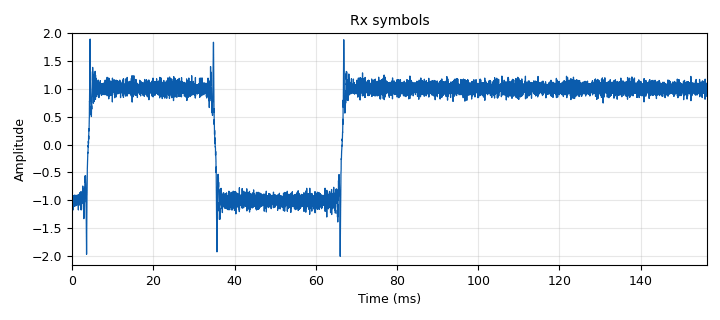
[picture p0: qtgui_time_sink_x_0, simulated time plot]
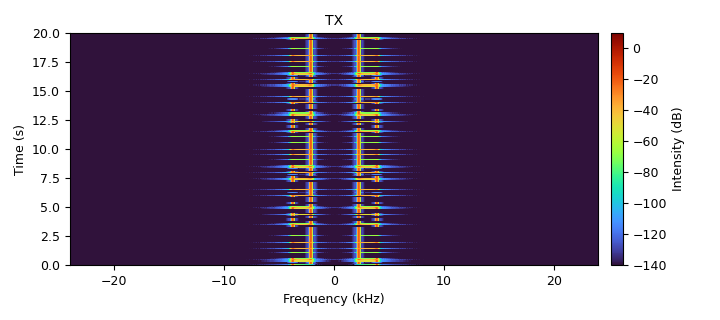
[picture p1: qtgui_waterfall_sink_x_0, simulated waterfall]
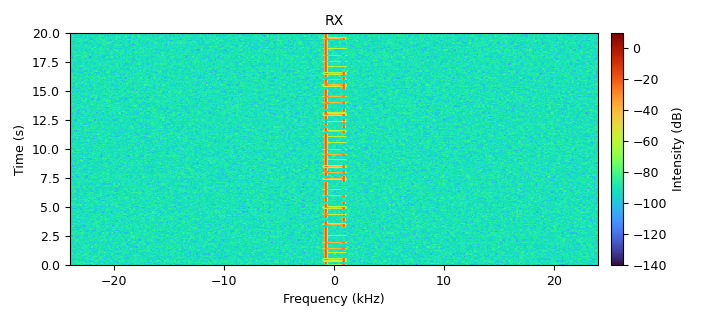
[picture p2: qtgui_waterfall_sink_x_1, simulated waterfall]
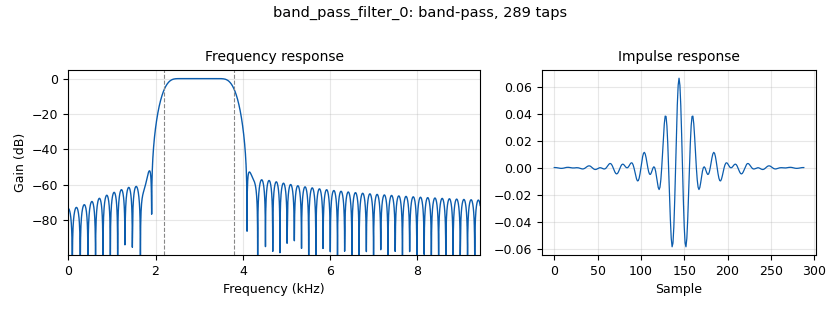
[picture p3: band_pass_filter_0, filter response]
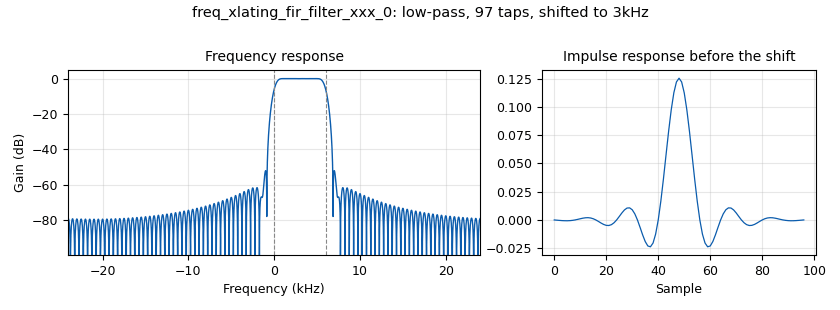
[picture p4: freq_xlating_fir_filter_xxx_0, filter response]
options:
  parameters:
    author: ubuntu
    generate_options: qt_gui
    id: test_header_payload_demux
    output_language: python
    title: Header/Payload demux demo
  states: {}

blocks:
- name: access_code
  id: variable
  parameters:
    value: '"11100001010110101110100010010011"'
  states: {}
- name: access_code_cplx
  id: variable
  parameters:
    value: '[(complex(x)-0.5)*2 for x in list(access_code)]'
  states: {}
- name: format_used
  id: variable
  parameters:
    value: digital.header_format_counter(access_code,0,1)
  states: {}
- name: lowpassfiltertaps
  id: variable_low_pass_filter_taps
  parameters:
    cutoff_freq: fc
    gain: '1.0'
    samp_rate: samp_rate
    width: deviation*1.5
    win: window.WIN_HAMMING
  states: {}
- name: noise_voltage
  id: variable_qtgui_range
  parameters:
    label: Noise Voltage
    start: '0'
    step: '0.001'
    stop: '0.5'
    value: '0.002'
  states: {}
- name: samp_rate
  id: variable
  parameters:
    value: '48000'
  states: {}
- name: sensitivity
  id: variable
  parameters:
    value: 2*math.pi*deviation
  states: {}
- name: analog_agc_xx_0
  id: analog_agc_xx
  parameters:
    gain: '1.0'
    max_gain: '65536'
    rate: '1e-4'
    reference: '1.0'
    type: float
  states: {}
- name: analog_quadrature_demod_cf_0
  id: analog_quadrature_demod_cf
  parameters:
    gain: samp_rate/(2*math.pi*deviation)
  states: {}
- name: band_pass_filter_0
  id: band_pass_filter
  parameters:
    gain: '1'
    high_cutoff_freq: fc+deviation
    interp: '1'
    low_cutoff_freq: fc-deviation
    samp_rate: samp_rate
    type: interp_fir_filter_fff
    width: deviation/2
    win: window.WIN_HAMMING
  states: {}
- name: blocks_add_const_vxx_0
  id: blocks_add_const_vxx
  parameters:
    const: '-0.5'
    type: float
  states: {}
- name: blocks_add_const_vxx_1
  id: blocks_add_const_vxx
  parameters:
    const: '-1'
    type: float
  states: {}
- name: blocks_add_const_vxx_2
  id: blocks_add_const_vxx
  parameters:
    const: 2*math.pi*fc/sensitivity
    type: float
  states: {}
- name: blocks_char_to_float_0
  id: blocks_char_to_float
  parameters:
    scale: '1'
  states: {}
- name: blocks_char_to_float_1
  id: blocks_char_to_float
  parameters:
    scale: '1'
  states: {}
- name: blocks_complex_to_float_0
  id: blocks_complex_to_float
  parameters: {}
  states: {}
- name: blocks_complex_to_float_1
  id: blocks_complex_to_float
  parameters: {}
  states: {}
- name: blocks_float_to_complex_0
  id: blocks_float_to_complex
  parameters: {}
  states: {}
- name: blocks_message_debug_0
  id: blocks_message_debug
  parameters: {}
  states: {state: disabled}
- name: blocks_message_debug_1
  id: blocks_message_debug
  parameters: {}
  states: {}
- name: blocks_message_strobe_0
  id: blocks_message_strobe
  parameters:
    msg: pmt.cons(pmt.PMT_NIL, pmt.init_u8vector(pkt_size, [0x48,0x65,0x6c,0x6c,0x6f,0x2c,0x20,0x57,0x6f,0x72,0x6c,0x64,0x21,0x0a]))
    period: '1000'
  states: {}
- name: blocks_multiply_const_vxx_0
  id: blocks_multiply_const_vxx
  parameters:
    const: '2'
    type: float
  states: {}
- name: blocks_multiply_const_vxx_1
  id: blocks_multiply_const_vxx
  parameters:
    const: '2'
    type: float
  states: {}
- name: blocks_null_sink_0
  id: blocks_null_sink
  parameters:
    type: float
  states: {}
- name: blocks_null_sink_1
  id: blocks_null_sink
  parameters:
    type: float
  states: {}
- name: blocks_repack_bits_bb_0
  id: blocks_repack_bits_bb
  parameters:
    endianness: gr.GR_MSB_FIRST
    k: '1'
    l: '8'
    len_tag_key: '"payload symbols"'
  states: {}
- name: blocks_repeat_0
  id: blocks_repeat
  parameters:
    interp: sps
    type: byte
  states: {}
- name: blocks_tag_gate_0
  id: blocks_tag_gate
  parameters:
    propagate_tags: 'False'
    type: byte
  states: {}
- name: blocks_tag_gate_1
  id: blocks_tag_gate
  parameters:
    propagate_tags: 'False'
    type: float
  states: {}
- name: blocks_tagged_stream_mux_0
  id: blocks_tagged_stream_mux
  parameters:
    lengthtagname: packet_len
    ninputs: '2'
    type: byte
  states: {}
- name: blocks_unpack_k_bits_bb_0
  id: blocks_unpack_k_bits_bb
  parameters:
    k: '8'
  states: {}
- name: blocks_vco_f_0
  id: blocks_vco_f
  parameters:
    amplitude: '1'
    samp_rate: samp_rate
    sensitivity: sensitivity
  states: {}
- name: blocks_vector_source_x_1
  id: blocks_vector_source_x
  parameters:
    repeat: 'True'
    type: float
    vector: '[0,]'
  states: {}
- name: channels_channel_model_0
  id: channels_channel_model
  parameters:
    epsilon: '1.0'
    freq_offset: '0.0'
    noise_voltage: noise_voltage
    seed: '0'
    taps: '1.0'
  states: {}
- name: deviation
  id: parameter
  parameters:
    label: BFSK Deviation
    type: eng_float
    value: '800'
  states: {}
- name: digital_binary_slicer_fb_0
  id: digital_binary_slicer_fb
  parameters: {}
  states: {}
- name: digital_binary_slicer_fb_1
  id: digital_binary_slicer_fb
  parameters: {}
  states: {}
- name: digital_binary_slicer_fb_2
  id: digital_binary_slicer_fb
  parameters: {}
  states: {}
- name: digital_corr_est_cc_0
  id: digital_corr_est_cc
  parameters:
    mark_delay: '1'
    sps: '1'
    symbols: access_code_cplx
    threshold: '0.9'
    threshold_method: digital.THRESHOLD_ABSOLUTE
  states: {}
- name: digital_crc32_bb_0
  id: digital_crc32_bb
  parameters:
    check: 'False'
    lengthtagname: '"packet_len"'
    packed: 'True'
  states: {}
- name: digital_crc32_bb_1
  id: digital_crc32_bb
  parameters:
    check: 'True'
    lengthtagname: '"payload symbols"'
    packed: 'True'
  states: {}
- name: digital_header_payload_demux_0
  id: digital_header_payload_demux
  parameters:
    header_len: 12*8
    header_padding: '0'
    items_per_symbol: '1'
    length_tag_key: '"payload symbols"'
    output_symbols: 'False'
    samp_rate: samp_rate
    special_tags: ()
    timing_tag_key: '""'
    trigger_tag_key: '"time_est"'
    type: complex
  states: {}
- name: digital_protocol_formatter_bb_0
  id: digital_protocol_formatter_bb
  parameters:
    format: format_used
    len_tag_key: '"packet_len"'
  states: {}
- name: digital_protocol_parser_b_0
  id: digital_protocol_parser_b
  parameters:
    format: format_used
  states: {}
- name: digital_symbol_sync_xx_0
  id: digital_symbol_sync_xx
  parameters:
    damping: '1.0'
    loop_bw: '0.045'
    max_dev: '1.5'
    osps: '1'
    resamp_type: digital.IR_MMSE_8TAP
    sps: sps
    ted_gain: '1.0'
    ted_type: digital.TED_EARLY_LATE
    type: ff
  states: {}
- name: fc
  id: parameter
  parameters:
    label: Center frequency
    type: eng_float
    value: '3000'
  states: {}
- name: freq_xlating_fir_filter_xxx_0
  id: freq_xlating_fir_filter_xxx
  parameters:
    center_freq: fc
    decim: '1'
    samp_rate: samp_rate
    taps: lowpassfiltertaps
    type: fcc
  states: {}
- name: import_0
  id: import
  parameters:
    imports: import math
  states: {}
- name: network_udp_sink_0
  id: network_udp_sink
  parameters:
    addr: udp_out_host
    header: '0'
    payloadsize: pkt_size
    port: udp_out_port
    send_eof: 'False'
    type: byte
  states: {}
- name: pdu_pdu_to_tagged_stream_0
  id: pdu_pdu_to_tagged_stream
  parameters:
    tag: packet_len
    type: byte
  states: {}
- name: pdu_tagged_stream_to_pdu_0
  id: pdu_tagged_stream_to_pdu
  parameters:
    tag: payload symbols
    type: byte
  states: {}
- name: pkt_size
  id: parameter
  parameters:
    label: Packet size
    type: intx
    value: '16'
  states: {}
- name: qtgui_time_sink_x_0
  id: qtgui_time_sink_x
  parameters:
    name: '"Rx symbols"'
    size: 5*sps
    srate: samp_rate
    type: float
    ymax: '2'
    ymin: '-2'
  states: {}
- name: qtgui_waterfall_sink_x_0
  id: qtgui_waterfall_sink_x
  parameters:
    bw: samp_rate
    fc: '0'
    fftsize: '1024'
    name: '"TX"'
    type: float
  states: {}
- name: qtgui_waterfall_sink_x_1
  id: qtgui_waterfall_sink_x
  parameters:
    bw: samp_rate
    fc: '0'
    fftsize: '1024'
    name: '"RX"'
    type: complex
  states: {}
- name: sps
  id: parameter
  parameters:
    label: Samples per symbol
    type: intx
    value: '1500'
  states: {}
- name: udp_out_host
  id: parameter
  parameters:
    label: UDP Output Host
    type: str
    value: 127.0.0.1
  states: {}
- name: udp_out_port
  id: parameter
  parameters:
    label: UDP Output Port
    type: intx
    value: '47898'
  states: {}
- name: virtual_sink_0
  id: virtual_sink
  parameters:
    stream_id: pkt_bytes
  states: {}
- name: virtual_sink_1
  id: virtual_sink
  parameters:
    stream_id: hdr_bits
  states: {}
- name: virtual_sink_2
  id: virtual_sink
  parameters:
    stream_id: txsignal
  states: {}
- name: virtual_sink_3
  id: virtual_sink
  parameters:
    stream_id: payload_symbols
  states: {}
- name: virtual_sink_5
  id: virtual_sink
  parameters:
    stream_id: rxbits
  states: {}
- name: virtual_source_0
  id: virtual_source
  parameters:
    stream_id: pkt_bytes
  states: {}
- name: virtual_source_1
  id: virtual_source
  parameters:
    stream_id: hdr_bits
  states: {}
- name: virtual_source_2
  id: virtual_source
  parameters:
    stream_id: txsignal
  states: {}
- name: virtual_source_3
  id: virtual_source
  parameters:
    stream_id: payload_symbols
  states: {}
- name: virtual_source_4
  id: virtual_source
  parameters:
    stream_id: rxbits
  states: {}

connections:
- [analog_agc_xx_0, '0', digital_symbol_sync_xx_0, '0']
- [analog_agc_xx_0, '0', qtgui_time_sink_x_0, '0']
- [analog_quadrature_demod_cf_0, '0', analog_agc_xx_0, '0']
- [band_pass_filter_0, '0', blocks_tag_gate_1, '0']
- [blocks_add_const_vxx_0, '0', blocks_multiply_const_vxx_0, '0']
- [blocks_add_const_vxx_1, '0', blocks_add_const_vxx_2, '0']
- [blocks_add_const_vxx_2, '0', blocks_vco_f_0, '0']
- [blocks_char_to_float_0, '0', blocks_add_const_vxx_0, '0']
- [blocks_char_to_float_1, '0', blocks_multiply_const_vxx_1, '0']
- [blocks_complex_to_float_0, '0', digital_binary_slicer_fb_0, '0']
- [blocks_complex_to_float_0, '1', blocks_null_sink_0, '0']
- [blocks_complex_to_float_1, '0', digital_binary_slicer_fb_1, '0']
- [blocks_complex_to_float_1, '1', blocks_null_sink_1, '0']
- [blocks_float_to_complex_0, '0', digital_corr_est_cc_0, '0']
- [blocks_message_strobe_0, strobe, pdu_pdu_to_tagged_stream_0, pdus]
- [blocks_multiply_const_vxx_0, '0', blocks_float_to_complex_0, '0']
- [blocks_multiply_const_vxx_1, '0', blocks_add_const_vxx_1, '0']
- [blocks_repack_bits_bb_0, '0', digital_crc32_bb_1, '0']
- [blocks_repeat_0, '0', blocks_char_to_float_1, '0']
- [blocks_tag_gate_0, '0', virtual_sink_0, '0']
- [blocks_tag_gate_1, '0', qtgui_waterfall_sink_x_0, '0']
- [blocks_tag_gate_1, '0', virtual_sink_2, '0']
- [blocks_tagged_stream_mux_0, '0', blocks_tag_gate_0, '0']
- [blocks_unpack_k_bits_bb_0, '0', blocks_repeat_0, '0']
- [blocks_vco_f_0, '0', band_pass_filter_0, '0']
- [blocks_vector_source_x_1, '0', blocks_float_to_complex_0, '1']
- [channels_channel_model_0, '0', analog_quadrature_demod_cf_0, '0']
- [channels_channel_model_0, '0', qtgui_waterfall_sink_x_1, '0']
- [digital_binary_slicer_fb_0, '0', digital_protocol_parser_b_0, '0']
- [digital_binary_slicer_fb_1, '0', blocks_repack_bits_bb_0, '0']
- [digital_binary_slicer_fb_2, '0', virtual_sink_5, '0']
- [digital_corr_est_cc_0, '0', digital_header_payload_demux_0, '0']
- [digital_crc32_bb_0, '0', blocks_tagged_stream_mux_0, '1']
- [digital_crc32_bb_0, '0', digital_protocol_formatter_bb_0, '0']
- [digital_crc32_bb_1, '0', network_udp_sink_0, '0']
- [digital_crc32_bb_1, '0', pdu_tagged_stream_to_pdu_0, '0']
- [digital_header_payload_demux_0, '0', virtual_sink_1, '0']
- [digital_header_payload_demux_0, '1', virtual_sink_3, '0']
- [digital_protocol_formatter_bb_0, '0', blocks_tagged_stream_mux_0, '0']
- [digital_protocol_parser_b_0, info, blocks_message_debug_0, print]
- [digital_protocol_parser_b_0, info, digital_header_payload_demux_0, header_data]
- [digital_symbol_sync_xx_0, '0', digital_binary_slicer_fb_2, '0']
- [freq_xlating_fir_filter_xxx_0, '0', channels_channel_model_0, '0']
- [pdu_pdu_to_tagged_stream_0, '0', digital_crc32_bb_0, '0']
- [pdu_tagged_stream_to_pdu_0, pdus, blocks_message_debug_1, print]
- [virtual_source_0, '0', blocks_unpack_k_bits_bb_0, '0']
- [virtual_source_1, '0', blocks_complex_to_float_0, '0']
- [virtual_source_2, '0', freq_xlating_fir_filter_xxx_0, '0']
- [virtual_source_3, '0', blocks_complex_to_float_1, '0']
- [virtual_source_4, '0', blocks_char_to_float_0, '0']

metadata:
  file_format: 1
  grc_version: 3.10.9.2
